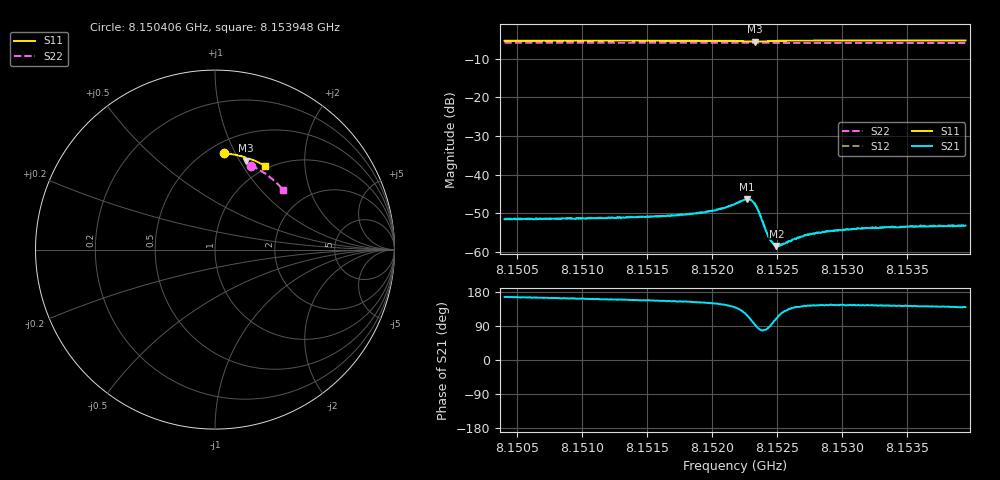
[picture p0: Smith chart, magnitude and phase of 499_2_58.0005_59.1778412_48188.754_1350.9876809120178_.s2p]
#  HZ  S  RI  R  50.00
! Rohde & Schwarz Vector Network Analyzer
! Rohde-Schwarz,ZNB20-2Port,1311601062101988,3.16
! Created: UTC 3/21/2024, 1:12:42 AM
! freq[Hz]  re:S11  im:S11  re:S21  im:S21  re:S12  im:S12  re:S22  im:S22
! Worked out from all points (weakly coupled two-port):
!   401 points, 8.150406 GHz to 8.153948 GHz, reference 50 ohm
!   highest |S21| = -46.33 dB at 8.152266 GHz (marker M1); lowest = -58.5 dB at 8.152496 GHz (marker M2)
!   lowest |S11| = -5.6 dB at 8.152328 GHz (marker M3), VSWR 3.21, Z = 39.1 + j53.4 ohm
!   |S11| at or under -10 dB: nowhere
!   |S22| runs from -5.9 to -5.9 dB; largest |S21 - S12| = 0.00011
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8.1504062e9  0.0509 0.5363  -0.00258 0.000615  -0.00259 0.000669  0.2004 0.4685
8.1509994e9  0.0923 0.5316  -0.00257 0.000838  -0.00261 0.000868  0.2343 0.4517
8.1515927e9  0.1334 0.5238  -0.00265 0.00116  -0.00264 0.00121  0.2669 0.4321
8.1517343e9  0.1433 0.5213  -0.00269 0.00128  -0.00271 0.0013  0.2745 0.4272
8.1519468e9  0.1587 0.5166  -0.00285 0.00157  -0.00285 0.00165  0.2857 0.4193
8.1520973e9  0.1702 0.5117  -0.00308 0.00209  -0.00308 0.00217  0.2933 0.4135
8.152177e9  0.1767 0.5072  -0.00311 0.00278  -0.00313 0.00282  0.2975 0.4103
8.1522656e9  0.1801 0.498  -0.00237 0.0042  -0.00233 0.00424  0.3016 0.4067
8.152301e9  0.1775 0.4946  -0.00122 0.00451  -0.00122 0.00456  0.3032 0.4053
8.1523275e9  0.1745 0.4946  -0.000279 0.00419  -0.000214 0.00425  0.3042 0.4045
8.152363e9  0.1721 0.498  0.000465 0.00317  0.00051 0.00318  0.3058 0.4032
8.1524338e9  0.1769 0.5043  0.000123 0.00161  0.000159 0.00156  0.3096 0.4008
8.1524692e9  0.1805 0.5054  -0.000192 0.00127  -0.000192 0.0013  0.3116 0.3994
8.1524958e9  0.1832 0.5056  -0.000412 0.00112  -0.000388 0.00117  0.3128 0.3983
8.1525312e9  0.1864 0.5055  -0.000664 0.00103  -0.000678 0.00106  0.3146 0.3969
8.1526463e9  0.1961 0.5039  -0.00115 0.000945  -0.00107 0.001  0.3203 0.3921
8.1527171e9  0.2015 0.5024  -0.0013 0.000987  -0.0013 0.00104  0.3236 0.3892
8.1527703e9  0.2053 0.501  -0.00138 0.001  -0.00134 0.00103  0.3262 0.3869
8.1528942e9  0.2141 0.4979  -0.00152 0.00107  -0.00151 0.00108  0.3321 0.3817
8.153027e9  0.223 0.4944  -0.00157 0.00113  -0.00159 0.00115  0.3382 0.3759
8.1533635e9  0.2447 0.4847  -0.00169 0.00125  -0.00163 0.00126  0.3534 0.3611
8.1539478e9  0.2808 0.4659  -0.00166 0.00142  -0.00166 0.00146  0.3779 0.3337
